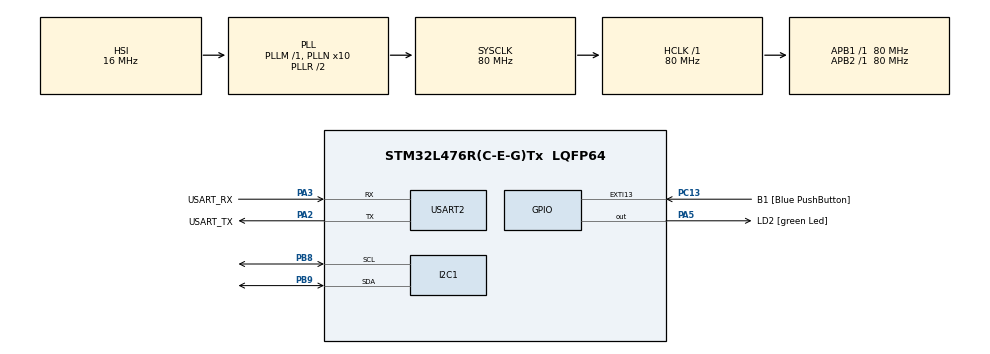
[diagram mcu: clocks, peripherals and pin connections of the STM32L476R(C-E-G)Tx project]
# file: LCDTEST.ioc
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I2C1.Timing=0x10909CEC
Mcu.Family=STM32L4
Mcu.Name=STM32L476R(C-E-G)Tx
Mcu.Package=LQFP64
NVIC.PriorityGroup=NVIC_PRIORITYGROUP_4
PA13\ (JTMS-SWDIO).GPIO_Label=TMS
PA13\ (JTMS-SWDIO).Mode=Serial_Wire
PA13\ (JTMS-SWDIO).Signal=SYS_JTMS-SWDIO
PA14\ (JTCK-SWCLK).GPIO_Label=TCK
PA14\ (JTCK-SWCLK).Mode=Serial_Wire
PA14\ (JTCK-SWCLK).Signal=SYS_JTCK-SWCLK
PA2.GPIO_Label=USART_TX
PA2.GPIO_Mode=GPIO_MODE_AF_PP
PA2.GPIO_PuPd=GPIO_NOPULL
PA2.GPIO_Speed=GPIO_SPEED_FREQ_VERY_HIGH
PA2.Mode=Asynchronous
PA2.Signal=USART2_TX
PA3.GPIO_Label=USART_RX
PA3.GPIO_Mode=GPIO_MODE_AF_PP
PA3.GPIO_PuPd=GPIO_NOPULL
PA3.GPIO_Speed=GPIO_SPEED_FREQ_VERY_HIGH
PA3.Mode=Asynchronous
PA3.Signal=USART2_RX
PA5.GPIO_Label=LD2 [green Led]
PA5.GPIO_ModeDefaultOutputPP=GPIO_MODE_OUTPUT_PP
PA5.GPIO_PuPd=GPIO_NOPULL
PA5.GPIO_Speed=GPIO_SPEED_FREQ_LOW
PA5.Signal=GPIO_Output
PB3\ (JTDO-TRACESWO).GPIO_Label=SWO
PB3\ (JTDO-TRACESWO).Signal=SYS_JTDO-SWO
PB8.Mode=I2C
PB8.Signal=I2C1_SCL
PB9.Mode=I2C
PB9.Signal=I2C1_SDA
PC13.GPIO_Label=B1 [Blue PushButton]
PC13.GPIO_ModeDefaultEXTI=GPIO_MODE_IT_FALLING
PC13.GPIO_PuPd=GPIO_NOPULL
PC13.Signal=GPXTI13
PC14-OSC32_IN\ (PC14).Mode=LSE-External-Oscillator
PC14-OSC32_IN\ (PC14).Signal=RCC_OSC32_IN
PC15-OSC32_OUT\ (PC15).Mode=LSE-External-Oscillator
PC15-OSC32_OUT\ (PC15).Signal=RCC_OSC32_OUT
PH0-OSC_IN\ (PH0).Signal=RCC_OSC_IN
PH1-OSC_OUT\ (PH1).Signal=RCC_OSC_OUT
ProjectManager.HeapSize=0x200
ProjectManager.StackSize=0x400
ProjectManager.TargetToolchain=STM32CubeIDE
RCC.ADCFreq_Value=64000000
RCC.AHBFreq_Value=80000000
RCC.APB1Freq_Value=80000000
RCC.APB1TimFreq_Value=80000000
RCC.APB2Freq_Value=80000000
RCC.APB2TimFreq_Value=80000000
RCC.CortexFreq_Value=80000000
RCC.HCLKFreq_Value=80000000
RCC.HSE_VALUE=8000000
RCC.HSI_VALUE=16000000
RCC.MSI_VALUE=4000000
RCC.PLLN=10
RCC.PLLSourceVirtual=RCC_PLLSOURCE_HSI
RCC.SYSCLKFreq_VALUE=80000000
RCC.SYSCLKSource=RCC_SYSCLKSOURCE_PLLCLK
RCC.USBFreq_Value=64000000
RCC.VCOOutputFreq_Value=160000000
USART2.VirtualMode-Asynchronous=VM_ASYNC
board=NUCLEO-L476RG

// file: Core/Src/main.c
/* USER CODE BEGIN Header */
/**
  ******************************************************************************
  * @file           : main.c
  * @brief          : Main program body
  ******************************************************************************
  * @attention
  *
  * Copyright (c) 2023 STMicroelectronics.
  * All rights reserved.
  *
  * This software is licensed under terms that can be found in the LICENSE file
  * in the root directory of this software component.
  * If no LICENSE file comes with this software, it is provided AS-IS.
  *
  ******************************************************************************
  */
/* USER CODE END Header */
#include "main.h"
#include "i2c.h"
#include "usart.h"
#include "gpio.h"
#include "calcullux.h"

/* USER CODE BEGIN Includes */
#include "lib_lcd.h"
#include "string.h"
#include <stdlib.h>
#include <stdio.h>
#include <math.h>
static rgb_lcd data;
static SHT_31 sht;
//static const uint8_t SHT31_ADDR = 0x40;
//static const uint8_t REG_TEMP = 0x11;

/* USER CODE END Includes */

/* USER CODE BEGIN PTD */
//I2C_HandleTypeDef hi2c1;
/* USER CODE END PTD */

void SystemClock_Config(void);
void MX_GPIO_Init(void);
void MX_I2C1_Init(void);

/* USER CODE BEGIN 0 */

unsigned int CalculerLux (unsigned int CH0,unsigned int CH1)
{
    float lux;
    float ratioCH1CH0 = CH1/CH0;

    if (((ratioCH1CH0 > 0.0) && ratioCH1CH0) <= 0.52)
    {
        lux = 0.0315*CH0 - 0.0593*CH0*(pow(ratioCH1CH0,1.4));
    }
    else if ((ratioCH1CH0 > 0.52) && (ratioCH1CH0 <= 0.61))
    {
        lux = 0.0229*CH0 - 0.0291*CH1;
    }
    else if ((ratioCH1CH0 > 0.61) && (ratioCH1CH0 <= 0.80))
    {
        lux = 0.0157*CH0 - 0.0180*CH1;
    }
    else if ((ratioCH1CH0 > 0.80) && (ratioCH1CH0 <= 1.30))
    {
        lux = 0.00338*CH0 - 0.00260*CH1;
    }
    else
    {
        lux = 0.0;
    }

    return lux;
}

/* USER CODE END 0 */

int main(void)
{

  /* MCU Configuration--------------------------------------------------------*/

  /* Reset of all peripherals, Initializes the Flash interface and the Systick. */
  HAL_Init();

  /* USER CODE BEGIN Init */
  uint8_t buf[15];
  uint8_t buf1[15];
  //HAL_StatusTypeDef ret;
  float temp_c;
  float hydro_c;
  uint16_t lum_c;
  uint16_t lum_c2;
  unsigned long lux;
  static uint8_t lum[15];
  int retmes;
  int aux;
  int affichagechanel = 0;
  unsigned long aux2;
  /* USER CODE END Init */

  /* Configure the system clock */
  SystemClock_Config();

  /* Initialize all configured peripherals */
  MX_GPIO_Init();
  MX_USART2_UART_Init();
  MX_I2C1_Init();
  /* USER CODE BEGIN 2 */

// initialisation
  sht31_init();
  TLS2561_init();
  lcd_init(&hi2c1,&data);

  clearlcd();

lcd_position(&hi2c1,0,0);
lcd_print(&hi2c1,"     HELLO!     ");
HAL_Delay(3000);
lcd_position(&hi2c1,0,0);

int calcullum(int nb,unsigned long *lumi)
{
	if(TLS2561_read(&lum) == -1)
			return -1;
			else
			{
				lum_c = (lum[0]+lum[1]*256);
				lum_c2 = (lum[2]+lum[3]*256);
				aux2 = CalculateLux(0,2, lum_c,
						lum_c2,1);

					*lumi=aux2;
				return 0;
			}

}

  /* USER CODE END 2 */

  /* Infinite loop */
  /* USER CODE BEGIN WHILE */
  while (1)
  {

//=========================================partie temp et humid ==============================================

	  retmes = sht31_read(&sht);
		if(retmes){
			reglagecouleur(4,4,4);
			  lcd_print(&hi2c1,"T");
			  lcd_write(&hi2c1,0b11011111);
			  lcd_print(&hi2c1,"=              ");
			  lcd_position(&hi2c1,0,1);
			  lcd_print(&hi2c1,"H");
			  lcd_write(&hi2c1,0b00100101);
			  lcd_print(&hi2c1,"=              ");
			temp_c = 100*(sht.temp);
			hydro_c = 100*(sht.hydro);
				buf[0]= (int)temp_c/1000;
				buf[1]= (int)(temp_c - buf[0]*1000)/100;
				buf[2]= (int)(temp_c - buf[0]*1000 - buf[1]*100)/10;
				buf[3]= (int)(temp_c - buf[0]*1000 - buf[1]*100 - buf[2]*10);
				lcd_position(&hi2c1,3,0);
				lcd_write(&hi2c1,0x3F & (buf[0])+0x30);
				lcd_write(&hi2c1,0x3F & (buf[1])+0x30);
				lcd_print(&hi2c1,".");
				lcd_write(&hi2c1,0x3F & (buf[2])+0x30);
				lcd_write(&hi2c1,0x3F & (buf[3])+0x30);
				if(sht.temp>50)
					{reglagecouleur(0xFF,0,0);
					lcd_print(&hi2c1," ALARM");}
				buf[4]= (int)hydro_c/1000;
				buf[5]= (int)(hydro_c - buf[4]*1000)/100;
				buf[6]= (int)(hydro_c - buf[4]*1000 - buf[5]*100)/10;
				buf[7]= (int)(hydro_c - buf[4]*1000 - buf[5]*100 - buf[6]*10);
				lcd_position(&hi2c1,3,1);
				lcd_write(&hi2c1,0x3F & (buf[4])+0x30);
				lcd_write(&hi2c1,0x3F & (buf[5])+0x30);
				lcd_print(&hi2c1,".");
				lcd_write(&hi2c1,0x3F & (buf[6])+0x30);
				lcd_write(&hi2c1,0x3F & (buf[7])+0x30);
				if(sht.hydro>100)
					{reglagecouleur(0xFF,0,0);
					lcd_print(&hi2c1," ALARM");}

				  }
		if(retmes == -1 )
		  {reglagecouleur(0xFF,0,0);
		  lcd_position(&hi2c1,0,1);
		  lcd_print(&hi2c1,"  erreur trans");
		  }
		if(retmes == -2 )
	  	  {reglagecouleur(0xFF,0,0);
	  	  lcd_position(&hi2c1,0,1);
	  	  lcd_print(&hi2c1,"  erreur recep");
		  }
//===============================================================================================================

		HAL_Delay(50);

//=================================== parti lum ==================================================================

		if(calcullum(1,&lux) == -1)
			{reglagecouleur(0xFF,0,0);
			lcd_position(&hi2c1,0,1);
			lcd_print(&hi2c1," erreur TLS2561");
			aux = 3;

			}
		else
			{

			//============================================================= affichage chanels ======================
			if(affichagechanel)
			{
			lum_c /= 65.536;
			lum_c2 /= 65.536;

			buf[8]= (int)lum_c/1000;
			buf[9]= (int)(lum_c - buf[8]*1000)/100;
			buf[10]= (int)(lum_c - buf[8]*1000 - buf[9]*100)/10;
			buf[11]= (int)(lum_c - buf[8]*1000 - buf[9]*100 - buf[10]*10);

			buf1[8]= (int)lum_c2/1000;
			buf1[9]= (int)(lum_c2 - buf1[8]*1000)/100;
			buf1[10]= (int)(lum_c2 - buf1[8]*1000 - buf1[9]*100)/10;
			buf1[11]= (int)(lum_c2 - buf1[8]*1000 - buf1[9]*100 - buf1[10]*10);

			if(retmes){
			lcd_position(&hi2c1,9,0);
			lcd_print(&hi2c1,"C0=");
			lcd_write(&hi2c1,0x3F & (buf[8])+0x30);
			lcd_write(&hi2c1,0x3F & (buf[9])+0x30);
			lcd_write(&hi2c1,0x3F & (buf[10])+0x30);
			lcd_write(&hi2c1,0x3F & (buf[11])+0x30);
			lcd_position(&hi2c1,9,1);
			lcd_print(&hi2c1,"C1=");
			lcd_write(&hi2c1,0x3F & (buf1[8])+0x30);
			lcd_write(&hi2c1,0x3F & (buf1[9])+0x30);
			lcd_write(&hi2c1,0x3F & (buf1[10])+0x30);
			lcd_write(&hi2c1,0x3F & (buf1[11])+0x30);
			}
			}
			//========================================================================================================
			if(!affichagechanel)
			{
				buf[8]= (int)lux/100000;
				buf[9]= (int)(lux - buf[8]*100000)/10000;
				buf[10]= (int)(lux - buf[8]*100000 - buf[9]*10000)/1000;
				buf[11]= (int)(lux - buf[8]*100000 - buf[9]*10000 - buf[10]*1000)/100;
				buf[12]= (int)(lux - buf[8]*100000 - buf[9]*10000 - buf[10]*1000 - buf[11]*100)/10;
				buf[13]= (int)(lux - buf[8]*100000 - buf[9]*10000 - buf[10]*1000 - buf[11]*100 - buf[12]*10);
				if(retmes)
				{
					lcd_position(&hi2c1,9,0);
					lcd_print(&hi2c1,"Lux =   ");
					lcd_position(&hi2c1,9,1);
					lcd_write(&hi2c1,0x3F & (buf[8])+0x30);
					lcd_write(&hi2c1,0x3F & (buf[9])+0x30);
					lcd_write(&hi2c1,0x3F & (buf[10])+0x30);
					lcd_write(&hi2c1,0x3F & (buf[11])+0x30);
					lcd_write(&hi2c1,0x3F & (buf[12])+0x30);
					lcd_write(&hi2c1,0x3F & (buf[13])+0x30);
				}

			}

			}
		if(aux > 0) // reinit si capteur debranché
			{
			TLS2561_init();
			aux-=1;
			}

//====================================================================================================================

		  HAL_Delay(2000);

		  /* USER CODE END WHILE */

}
}

void SystemClock_Config(void)
{
  RCC_OscInitTypeDef RCC_OscInitStruct = {0};
  RCC_ClkInitTypeDef RCC_ClkInitStruct = {0};

  /** Configure the main internal regulator output voltage
  */
  if (HAL_PWREx_ControlVoltageScaling(PWR_REGULATOR_VOLTAGE_SCALE1) != HAL_OK)
  {
    Error_Handler();
  }

  /** Initializes the RCC Oscillators according to the specified parameters
  * in the RCC_OscInitTypeDef structure.
  */
  RCC_OscInitStruct.OscillatorType = RCC_OSCILLATORTYPE_HSI;
  RCC_OscInitStruct.HSIState = RCC_HSI_ON;
  RCC_OscInitStruct.HSICalibrationValue = RCC_HSICALIBRATION_DEFAULT;
  RCC_OscInitStruct.PLL.PLLState = RCC_PLL_ON;
  RCC_OscInitStruct.PLL.PLLSource = RCC_PLLSOURCE_HSI;
  RCC_OscInitStruct.PLL.PLLM = 1;
  RCC_OscInitStruct.PLL.PLLN = 10;
  RCC_OscInitStruct.PLL.PLLP = RCC_PLLP_DIV7;
  RCC_OscInitStruct.PLL.PLLQ = RCC_PLLQ_DIV2;
  RCC_OscInitStruct.PLL.PLLR = RCC_PLLR_DIV2;
  if (HAL_RCC_OscConfig(&RCC_OscInitStruct) != HAL_OK)
  {
    Error_Handler();
  }

  /** Initializes the CPU, AHB and APB buses clocks
  */
  RCC_ClkInitStruct.ClockType = RCC_CLOCKTYPE_HCLK|RCC_CLOCKTYPE_SYSCLK
                              |RCC_CLOCKTYPE_PCLK1|RCC_CLOCKTYPE_PCLK2;
  RCC_ClkInitStruct.SYSCLKSource = RCC_SYSCLKSOURCE_PLLCLK;
  RCC_ClkInitStruct.AHBCLKDivider = RCC_SYSCLK_DIV1;
  RCC_ClkInitStruct.APB1CLKDivider = RCC_HCLK_DIV1;
  RCC_ClkInitStruct.APB2CLKDivider = RCC_HCLK_DIV1;

  if (HAL_RCC_ClockConfig(&RCC_ClkInitStruct, FLASH_LATENCY_4) != HAL_OK)
  {
    Error_Handler();
  }
}

void Error_Handler(void)
{
  __disable_irq();
  while (1)
  {
  }

}
